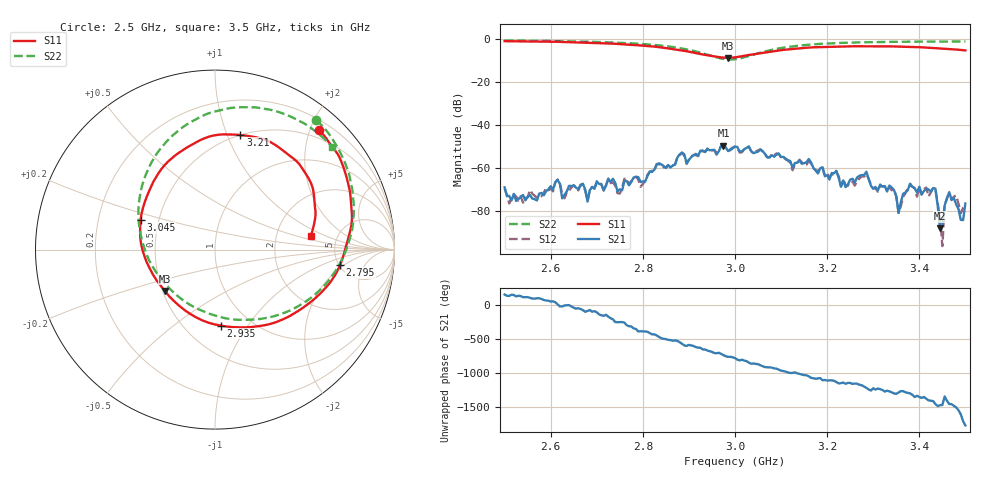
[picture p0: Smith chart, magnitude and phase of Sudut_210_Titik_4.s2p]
# Hz S RI R 50
! CMT, C1220, 16058040, 17.2.0/1
! Date: 15/08/2018 10:34:20
! Data: Format (Calibration Info)
! Freq  S11: Re/Im (F2)  S21: Re/Im (F2)  S12: Re/Im (F2)  S22: Re/Im (F2)
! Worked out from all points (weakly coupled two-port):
!   201 points, 2.5 GHz to 3.5 GHz, reference 50 ohm
!   highest |S21| = -49.49 dB at 2.975 GHz (marker M1); lowest = -87.9 dB at 3.445 GHz (marker M2)
!   lowest |S11| = -8.8 dB at 2.985 GHz (marker M3), VSWR 2.14, Z = 25.7 - j13.6 ohm
!   |S11| at or under -10 dB: nowhere
!   |S22| runs from -9.6 to -0.7 dB; largest |S21 - S12| = 0.00024
!   S11 on the Smith chart (normalised r, x): 2.5 GHz: 0.35, +2.14; 2.795 GHz: 5.11, -1.73; 2.935 GHz: 0.73, -0.76; 3.045 GHz: 0.39, +0.16; 3.21 GHz: 0.50, +1.12; 3.5 GHz: 3.18, +0.70
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2.5e9  0.579 0.6667  -0.000317 0.000173  -0.000314 0.000119  0.5654 0.7225
2.51e9  0.5943 0.6501  -0.00015 0.000172  -0.000131 7.68e-05  0.5767 0.7118
2.615e9  0.7103 0.4744  0.000528 6.46e-05  0.000543 8.24e-05  0.6883 0.5595
2.67e9  0.7492 0.3365  8.53e-05 -0.000429  5.89e-05 -0.000386  0.7365 0.4517
2.68e9  0.7538 0.3076  -1.99e-06 -0.000168  -2.6e-06 -0.000178  0.7446 0.4297
2.7e9  0.7588 0.2494  -0.000173 -0.000468  -0.00012 -0.00042  0.7555 0.381
2.795e9  0.6971 -0.0859  0.000421 -0.000229  0.000289 -0.00023  0.7596 0.0923
2.835e9  0.6002 -0.2304  -0.000507 -0.0012  -0.000356 -0.00118  0.703 -0.0636
2.935e9  0.0321 -0.4233  0.00111 0.00208  0.00108 0.00214  0.2159 -0.3895
2.975e9  -0.2275 -0.2877  0.00311 -0.00126  0.00294 -0.00125  -0.1007 -0.3286
2.985e9  -0.2803 -0.2298  0.00171 -0.00182  0.00181 -0.00172  -0.1749 -0.2844
3e9  -0.3472 -0.1365  0.0013 -0.00288  0.00113 -0.00297  -0.2716 -0.198
3.045e9  -0.415 0.1648  -0.002 -0.0012  -0.00212 -0.00126  -0.4234 0.1384
3.17e9  -0.00854 0.6356  0.00102 -5.4e-05  0.000988 6.56e-05  -0.0791 0.7406
3.21e9  0.1418 0.6382  0.000646 -0.000427  0.000581 -0.000411  0.0667 0.7851
3.335e9  0.4654 0.4812  -0.000381 0.000103  -0.000341 0.000122  0.403 0.749
3.355e9  0.496 0.4378  -7.82e-05 4.81e-05  -4.85e-05 7.81e-05  0.4412 0.7318
3.38e9  0.53 0.3804  -0.000315 0.000306  -0.000267 0.000301  0.4885 0.7074
3.435e9  0.556 0.2416  0.000313 -0.000125  0.000294 -0.000114  0.5721 0.6487
3.445e9  0.5597 0.217  3.13e-05 -2.57e-05  6.32e-05 3.92e-05  0.5867 0.6364
3.465e9  0.5571 0.1695  0.00026 -0.000101  0.000237 -6.41e-05  0.6115 0.6154
3.5e9  0.5344 0.0777  0.00014 5.88e-05  0.000121 7.37e-05  0.6516 0.5737
